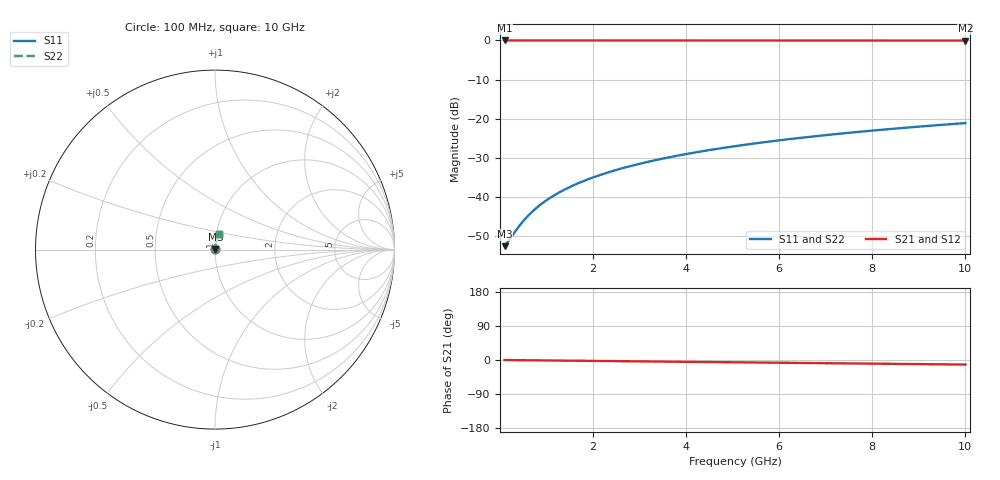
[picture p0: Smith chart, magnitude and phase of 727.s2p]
# Hz S RI R 50.00
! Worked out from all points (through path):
!   100 points, 100 MHz to 10 GHz, reference 50 ohm
!   highest |S21| = -0.02 dB at 100 MHz (marker M1); lowest = -0.1 dB at 10 GHz (marker M2)
!   group delay of S21, straight-line fit = 3.34 ps
!   lowest |S11| = -52.5 dB at 100 MHz (marker M3), VSWR 1.00, Z = 50.2 + j0.0886 ohm
!   |S11| at or under -10 dB: start of sweep to end of sweep
!   |S22| runs from -52.5 to -21.1 dB; largest |S21 - S12| = 0
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1e8  0.00221 0.000882  0.9978 -0.00209  0.9978 -0.00209  0.00221 0.000882
2e8  0.00223 0.00176  0.9978 -0.00418  0.9978 -0.00418  0.00223 0.00176
4e8  0.00227 0.00353  0.9977 -0.00836  0.9977 -0.00836  0.00227 0.00353
5e8  0.00229 0.00441  0.9977 -0.0104  0.9977 -0.0104  0.00229 0.00441
6e8  0.00232 0.00529  0.9976 -0.0125  0.9976 -0.0125  0.00232 0.00529
7e8  0.00235 0.00617  0.9976 -0.0146  0.9976 -0.0146  0.00235 0.00617
8e8  0.00238 0.00706  0.9976 -0.0167  0.9976 -0.0167  0.00238 0.00706
1e9  0.00246 0.00882  0.9975 -0.0209  0.9975 -0.0209  0.00246 0.00882
1.2e9  0.00255 0.0106  0.9973 -0.0251  0.9973 -0.0251  0.00255 0.0106
1.5e9  0.00271 0.0132  0.9971 -0.0313  0.9971 -0.0313  0.00271 0.0132
1.8e9  0.0029 0.0159  0.9968 -0.0376  0.9968 -0.0376  0.0029 0.0159
2.1e9  0.00312 0.0185  0.9965 -0.0439  0.9965 -0.0439  0.00312 0.0185
2.5e9  0.00347 0.022  0.996 -0.0522  0.996 -0.0522  0.00347 0.022
2.9e9  0.00388 0.0255  0.9955 -0.0606  0.9955 -0.0606  0.00388 0.0255
3.4e9  0.00447 0.0299  0.9946 -0.071  0.9946 -0.071  0.00447 0.0299
4.2e9  0.00561 0.0369  0.9931 -0.0876  0.9931 -0.0876  0.00561 0.0369
5.1e9  0.00716 0.0446  0.9909 -0.1064  0.9909 -0.1064  0.00716 0.0446
5.9e9  0.00879 0.0515  0.9886 -0.1229  0.9886 -0.1229  0.00879 0.0515
6.7e9  0.0107 0.0583  0.986 -0.1395  0.986 -0.1395  0.0107 0.0583
7.5e9  0.0127 0.0651  0.983 -0.156  0.983 -0.156  0.0127 0.0651
8.4e9  0.0154 0.0726  0.9793 -0.1744  0.9793 -0.1744  0.0154 0.0726
1e10  0.0207 0.0857  0.9718 -0.207  0.9718 -0.207  0.0207 0.0857
